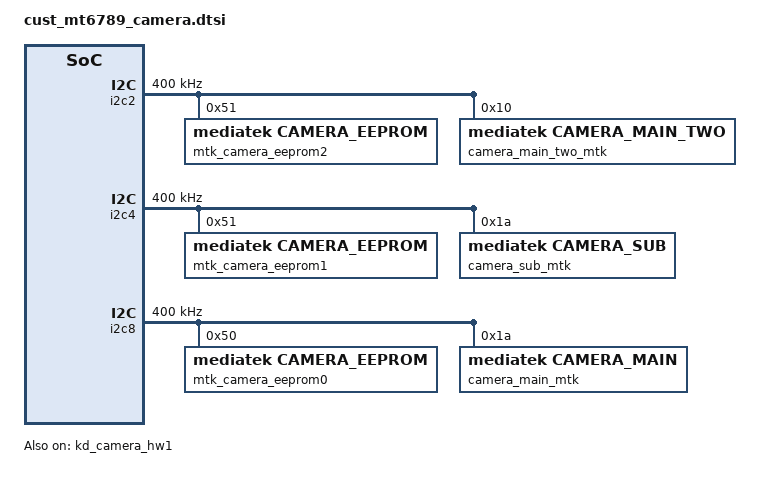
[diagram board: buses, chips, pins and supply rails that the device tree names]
// SPDX-License-Identifier: GPL-2.0
/* Copyright (c) 2020 MediaTek Inc. */
/* CAMERA GPIO standardization */
&pio {
	camera_pins_cam0_rst_0: cam0@0 {
		pins_cmd_dat {
			pinmux = <PINMUX_GPIO18__FUNC_GPIO18>;
			slew-rate = <1>;
			output-low;
		};
	};
	camera_pins_cam0_rst_1: cam0@1 {
		pins_cmd_dat {
			pinmux = <PINMUX_GPIO18__FUNC_GPIO18>;
			slew-rate = <1>;
			output-high;
		};
	};
	camera_pins_cam1_rst_0: cam1@0 {
		pins_cmd_dat {
			pinmux = <PINMUX_GPIO16__FUNC_GPIO16>;
			slew-rate = <1>;
			output-low;
		};
	};
	camera_pins_cam1_rst_1: cam1@1 {
		pins_cmd_dat {
			pinmux = <PINMUX_GPIO16__FUNC_GPIO16>;
			slew-rate = <1>;
			output-high;
		};
	};
	camera_pins_cam2_rst_0: cam2@0 {
		pins_cmd_dat {
			pinmux = <PINMUX_GPIO22__FUNC_GPIO22>;
			slew-rate = <1>;
			output-low;
		};
	};
	camera_pins_cam2_rst_1: cam2@1 {
		pins_cmd_dat {
			pinmux = <PINMUX_GPIO22__FUNC_GPIO22>;
			slew-rate = <1>;
			output-high;
		};
	};
	camera_pins_cam0_mclk_off: camera_pins_cam0_mclk_off {
		pins_cmd_dat {
			pinmux = <PINMUX_GPIO127__FUNC_GPIO127>;
			drive-strength = <1>;
		};
	};
	camera_pins_cam0_mclk_2ma: camera_pins_cam0_mclk_2ma {
		pins_cmd_dat {
			pinmux = <PINMUX_GPIO127__FUNC_CMMCLK1>;
			drive-strength = <0>;
		};
	};
	camera_pins_cam0_mclk_4ma: camera_pins_cam0_mclk_4ma {
		pins_cmd_dat {
			pinmux = <PINMUX_GPIO127__FUNC_CMMCLK1>;
			drive-strength = <1>;
		};
	};
	camera_pins_cam0_mclk_6ma: camera_pins_cam0_mclk_6ma {
		pins_cmd_dat {
			pinmux = <PINMUX_GPIO127__FUNC_CMMCLK1>;
			drive-strength = <2>;
		};
	};
	camera_pins_cam0_mclk_8ma: camera_pins_cam0_mclk_8ma {
		pins_cmd_dat {
			pinmux = <PINMUX_GPIO127__FUNC_CMMCLK1>;
			drive-strength = <3>;
		};
	};
	camera_pins_cam1_mclk_off: camera_pins_cam1_mclk_off {
		pins_cmd_dat {
			pinmux = <PINMUX_GPIO126__FUNC_GPIO126>;
			drive-strength = <1>;
		};
	};
	camera_pins_cam1_mclk_2ma: camera_pins_cam1_mclk_2ma {
		pins_cmd_dat {
			pinmux = <PINMUX_GPIO126__FUNC_CMMCLK0>;
			drive-strength = <0>;
		};
	};
	camera_pins_cam1_mclk_4ma: camera_pins_cam1_mclk_4ma {
		pins_cmd_dat {
			pinmux = <PINMUX_GPIO126__FUNC_CMMCLK0>;
			drive-strength = <1>;
		};
	};
	camera_pins_cam1_mclk_6ma: camera_pins_cam1_mclk_6ma {
		pins_cmd_dat {
			pinmux = <PINMUX_GPIO126__FUNC_CMMCLK0>;
			drive-strength = <2>;
		};
	};
	camera_pins_cam1_mclk_8ma: camera_pins_cam1_mclk_8ma {
		pins_cmd_dat {
			pinmux = <PINMUX_GPIO126__FUNC_CMMCLK0>;
			drive-strength = <3>;
		};
	};
	camera_pins_cam2_mclk_off: camera_pins_cam2_mclk_off {
		pins_cmd_dat {
			pinmux = <PINMUX_GPIO129__FUNC_GPIO129>;
			drive-strength = <1>;
		};
	};
	camera_pins_cam2_mclk_2ma: camera_pins_cam2_mclk_2ma {
		pins_cmd_dat {
			pinmux = <PINMUX_GPIO129__FUNC_CMMCLK3>;
			drive-strength = <0>;
		};
	};
	camera_pins_cam2_mclk_4ma: camera_pins_cam2_mclk_4ma {
		pins_cmd_dat {
			pinmux = <PINMUX_GPIO129__FUNC_CMMCLK3>;
			drive-strength = <1>;
		};
	};
	camera_pins_cam2_mclk_6ma: camera_pins_cam2_mclk_6ma {
		pins_cmd_dat {
			pinmux = <PINMUX_GPIO129__FUNC_CMMCLK3>;
			drive-strength = <2>;
		};
	};
	camera_pins_cam2_mclk_8ma: camera_pins_cam2_mclk_8ma {
		pins_cmd_dat {
			pinmux = <PINMUX_GPIO129__FUNC_CMMCLK3>;
			drive-strength = <3>;
		};
	};
	camera_pins_cam0_vcamd_0: cam0@vcam0 {
		pins_cmd_dat {
			pinmux = <PINMUX_GPIO8__FUNC_GPIO8>;
			slew-rate = <1>;
			output-low;
		};
	};
	camera_pins_cam0_vcamd_1: cam0@vcam1 {
		pins_cmd_dat {
			pinmux = <PINMUX_GPIO8__FUNC_GPIO8>;
			slew-rate = <1>;
			output-high;
		};
	};
	camera_pins_cam0_vcama_0: cam0@vcam2 {
		pins_cmd_dat {
			pinmux = <PINMUX_GPIO135__FUNC_GPIO135>;
			slew-rate = <1>;
			output-low;
		};
	};
	camera_pins_cam0_vcama_1: cam0@vcam3 {
		pins_cmd_dat {
			pinmux = <PINMUX_GPIO135__FUNC_GPIO135>;
			slew-rate = <1>;
			output-high;
		};
	};
	camera_pins_cam0_vcamio_0: cam0@vcam4 {
		pins_cmd_dat {
			pinmux = <PINMUX_GPIO10__FUNC_GPIO10>;
			slew-rate = <1>;
			output-low;
		};
	};
	camera_pins_cam0_vcamio_1: cam0@vcam5 {
		pins_cmd_dat {
			pinmux = <PINMUX_GPIO10__FUNC_GPIO10>;
			slew-rate = <1>;
			output-high;
		};
	};
	camera_pins_cam1_vcama_0: cam1@vcam0 {
		pins_cmd_dat {
			pinmux = <PINMUX_GPIO134__FUNC_GPIO134>;
			slew-rate = <1>;
			output-low;
		};
	};
	camera_pins_cam1_vcama_1: cam1@vcam1 {
		pins_cmd_dat {
			pinmux = <PINMUX_GPIO134__FUNC_GPIO134>;
			slew-rate = <1>;
			output-high;
		};
	};
	/*
	camera_pins_cam1_vcamio_0: cam1@vcam2 {
		pins_cmd_dat {
			pinmux = <PINMUX_GPIO37__FUNC_GPIO37>;
			slew-rate = <1>;
			output-low;
		};
	};
	camera_pins_cam1_vcamio_1: cam1@vcam3 {
		pins_cmd_dat {
			pinmux = <PINMUX_GPIO37__FUNC_GPIO37>;
			slew-rate = <1>;
			output-high;
		};
	};
	*/
	camera_pins_default: camdefault {
	};
};


&kd_camera_hw1 {
	pinctrl-names = "default",
			"cam0_rst0", "cam0_rst1",
			"cam1_rst0", "cam1_rst1",
			"cam2_rst0", "cam2_rst1",
			"cam0_mclk_off",
			"cam0_mclk_2mA", "cam0_mclk_4mA",
			"cam0_mclk_6mA", "cam0_mclk_8mA",
			"cam1_mclk_off",
			"cam1_mclk_2mA", "cam1_mclk_4mA",
			"cam1_mclk_6mA", "cam1_mclk_8mA",
			"cam2_mclk_off",
			"cam2_mclk_2mA", "cam2_mclk_4mA",
			"cam2_mclk_6mA", "cam2_mclk_8mA",
			"cam0_ldo_vcamd_0", "cam0_ldo_vcamd_1",
			"cam0_ldo_vcama_0", "cam0_ldo_vcama_1",
			"cam1_ldo_vcama_0", "cam1_ldo_vcama_1";

	pinctrl-0 = <&camera_pins_default>;
	pinctrl-1 = <&camera_pins_cam0_rst_0>;
	pinctrl-2 = <&camera_pins_cam0_rst_1>;
	pinctrl-3 = <&camera_pins_cam1_rst_0>;
	pinctrl-4 = <&camera_pins_cam1_rst_1>;
	pinctrl-5 = <&camera_pins_cam2_rst_0>;
	pinctrl-6 = <&camera_pins_cam2_rst_1>;
	pinctrl-7 = <&camera_pins_cam0_mclk_off>;
	pinctrl-8 = <&camera_pins_cam0_mclk_2ma>;
	pinctrl-9 = <&camera_pins_cam0_mclk_4ma>;
	pinctrl-10 = <&camera_pins_cam0_mclk_6ma>;
	pinctrl-11 = <&camera_pins_cam0_mclk_8ma>;
	pinctrl-12 = <&camera_pins_cam1_mclk_off>;
	pinctrl-13 = <&camera_pins_cam1_mclk_2ma>;
	pinctrl-14 = <&camera_pins_cam1_mclk_4ma>;
	pinctrl-15 = <&camera_pins_cam1_mclk_6ma>;
	pinctrl-16 = <&camera_pins_cam1_mclk_8ma>;
	pinctrl-17 = <&camera_pins_cam2_mclk_off>;
	pinctrl-18 = <&camera_pins_cam2_mclk_2ma>;
	pinctrl-19 = <&camera_pins_cam2_mclk_4ma>;
	pinctrl-20 = <&camera_pins_cam2_mclk_6ma>;
	pinctrl-21 = <&camera_pins_cam2_mclk_8ma>;
	pinctrl-22 = <&camera_pins_cam0_vcamd_0>;
	pinctrl-23 = <&camera_pins_cam0_vcamd_1>;
	pinctrl-24 = <&camera_pins_cam0_vcama_0>;
	pinctrl-25 = <&camera_pins_cam0_vcama_1>;
	pinctrl-26 = <&camera_pins_cam1_vcama_0>;
	pinctrl-27 = <&camera_pins_cam1_vcama_1>;
/* Tab A9 code for SR-AX6739A-01-211 by rongyi at 20230508 start */

	cam0_vcamio-supply = <&mt6358_vsim2_reg>;
	cam1_vcamio-supply = <&mt6358_vsim2_reg>;
	cam0_vcamaf-supply = <&mt6358_vio28_reg>;

/* Tab A9 code for SR-AX6739A-01-762 by rongyi at 20230628 start */
	cam0_enable_sensor = "a0901backsc800csly_mipi_raw a0902backhi846st_mipi_raw a0903backc8490xsj_mipi_raw a0904backsc800csst_mipi_raw a0904backsc820csst_mipi_raw";
	cam1_enable_sensor = "a0901frontsc201csly_mipi_raw a0902frontc2599cxt_mipi_raw a0903frontbf2257xsj_mipi_raw";
/* Tab A9 code for SR-AX6739A-01-762 by rongyi at 20230628 end */
	cam0_pin_mclk = "mclk";
	cam0_pin_rst = "gpio";
	cam0_pin_vcama = "gpio";
	cam0_pin_vcamio = "regulator";
	cam0_pin_vcamd = "gpio";
	cam0_pin_vcamaf = "regulator";
	cam1_pin_mclk = "mclk";
	cam1_pin_rst = "gpio";
	cam1_pin_vcama = "gpio";
	cam1_pin_vcamio = "regulator";
	status = "okay";
};
/* Tab A9 code for SR-AX6739A-01-211 by rongyi at 20230508 end */

/* CAMERA GPIO end */

/* CAMERA EEPROM */
&i2c2 {
	status = "okay";
	clock-frequency = <400000>;
	#address-cells = <1>;
	#size-cells = <0>;

	mtk_camera_eeprom2:camera_eeprom2@51 {
		compatible = "mediatek,camera_eeprom";
		reg = <0x51>;
		status = "okay";
	};
	camera_main_two_mtk:camera_main_two@10 {
		compatible = "mediatek,camera_main_two";
		#thermal-sensor-cells = <0>;
		reg = <0x10>;
		status = "okay";
	};
};
&i2c4 {
	status = "okay";
	clock-frequency = <400000>;
	#address-cells = <1>;
	#size-cells = <0>;

	mtk_camera_eeprom1:camera_eeprom1@51 {
		compatible = "mediatek,camera_eeprom";
		reg = <0x51>;
		status = "okay";
	};
	camera_sub_mtk:camera_sub@1a {
		compatible = "mediatek,camera_sub";
		#thermal-sensor-cells = <0>;
		reg = <0x1a>;
		status = "okay";
	};
};
&i2c8 {
	status = "okay";
	clock-frequency = <400000>;
	#address-cells = <1>;
	#size-cells = <0>;

	mtk_camera_eeprom0:camera_eeprom0@50 {
		compatible = "mediatek,camera_eeprom";
		reg = <0x50>;
		status = "okay";
	};
	camera_main_mtk:camera_main@1a {
		compatible = "mediatek,camera_main";
		#thermal-sensor-cells = <0>;
		reg = <0x1a>;
		status = "okay";
	};
};
/* CAMERA EEPROM end */

/* CAMERA TZ config */
&thermal_zones {
	camera_main: camera_main {
		polling-delay = <1000>; /* milliseconds */
		polling-delay-passive = <0>; /* milliseconds */
		thermal-sensors = <&camera_main_mtk>;
	};
	camera_sub: camera_sub {
		polling-delay = <1000>; /* milliseconds */
		polling-delay-passive = <0>; /* milliseconds */
		thermal-sensors = <&camera_sub_mtk>;
	};
	camera_main_two: camera_main_two {
		polling-delay = <1000>; /* milliseconds */
		polling-delay-passive = <0>; /* milliseconds */
		thermal-sensors = <&camera_main_two_mtk>;
	};
};
/* CAMERA TZ config end */
